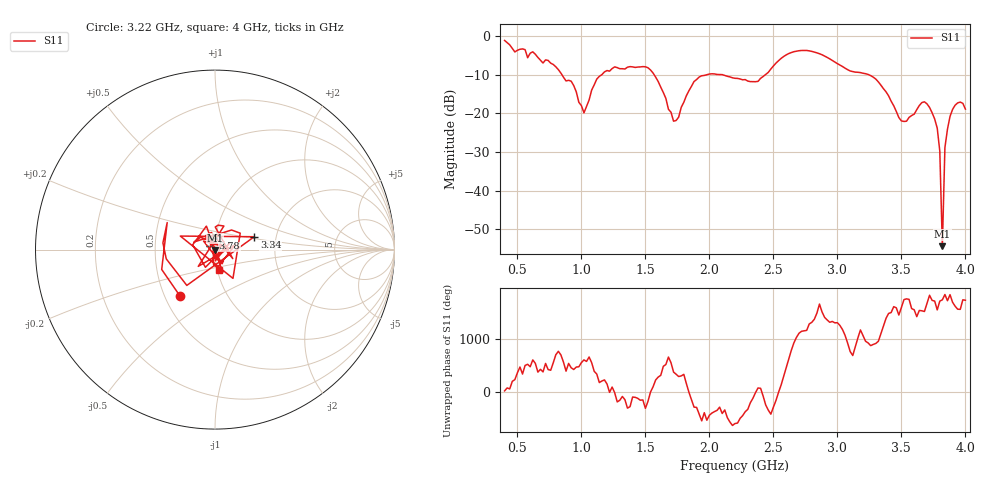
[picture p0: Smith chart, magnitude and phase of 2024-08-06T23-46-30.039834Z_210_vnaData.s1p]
!Created with skrf (http://scikit-rf.org).
# Hz S RI R 50.0
!freq ReS11 ImS11
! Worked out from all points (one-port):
!   181 points, 400 MHz to 4 GHz, reference 50 ohm
!   lowest |S11| = -54.4 dB at 3.82 GHz (marker M1), VSWR 1.00, Z = 50.1 - j0.182 ohm
!   |S11| at or under -10 dB: 1.567 GHz to 1.986 GHz (418.8 MHz wide, 23.6 % of centre); 2.068 GHz to 2.439 GHz (371 MHz wide, 16.5 % of centre); 3.241 GHz to end of sweep (the widest 3 of 4)
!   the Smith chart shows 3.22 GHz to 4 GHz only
!   S11 on the Smith chart (normalised r, x): 3.22 GHz: 0.60, -0.35; 3.34 GHz: 1.54, +0.23; 3.78 GHz: 0.97, +0.12; 4 GHz: 1.01, -0.23
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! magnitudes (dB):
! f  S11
! 400 MHz  -1.2
! 740 MHz  -6.4
! 860 MHz  -10.7
! 940 MHz  -12.9
! 1.02 GHz  -19.9
! 1.12 GHz  -11.2
! 1.3 GHz  -8.5
! 1.52 GHz  -8.3
! 1.6 GHz  -11.8
! 1.72 GHz  -22.1
! 1.76 GHz  -21.0
! 1.92 GHz  -10.7
! 2.2 GHz  -11.0
! 2.38 GHz  -11.8
! 2.66 GHz  -4.1
! 3.1 GHz  -9.1
! 3.22 GHz  -9.8
! 3.34 GHz  -12.8
! 3.5 GHz  -22.0
! 3.56 GHz  -21.1
! 3.68 GHz  -17.0
! 3.78 GHz  -23.9
! 3.8 GHz  -29.8
! 3.82 GHz  -54.4
! 3.84 GHz  -28.9
! 3.86 GHz  -24.1
! 3.92 GHz  -17.9
! 4 GHz  -18.9
